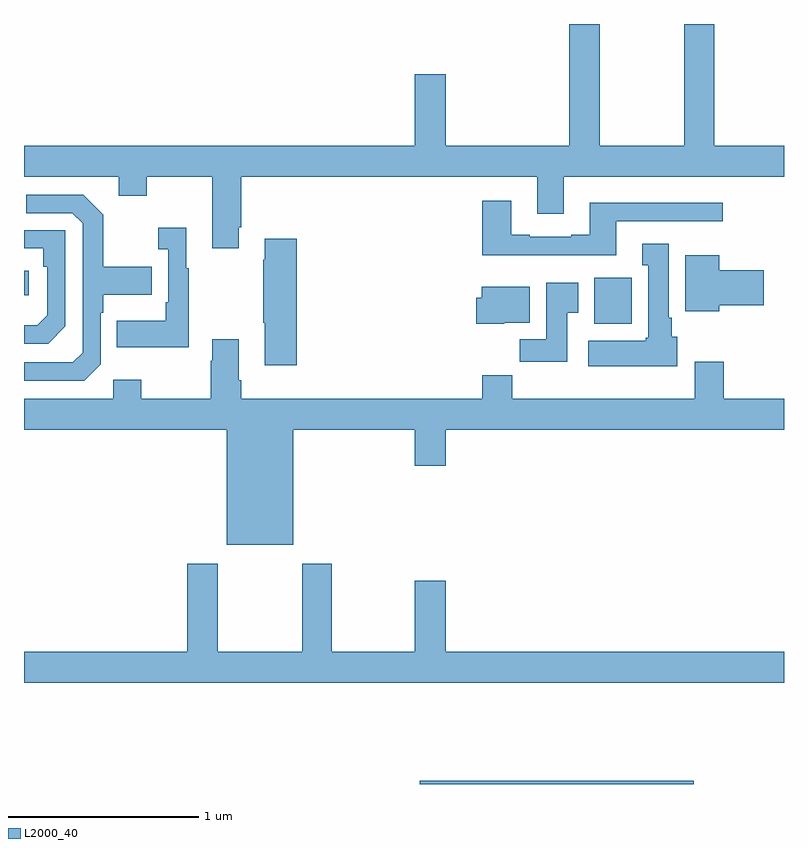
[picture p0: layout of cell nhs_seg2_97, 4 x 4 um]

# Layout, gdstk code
import gdstk
lib = gdstk.Library(unit=1e-6, precision=1e-09)
def R(c, l, rs):  # rectangles x0, y0, x1, y1
    for r in rs: c.add(gdstk.rectangle(r[:2], r[2:], *l))
def P(c, l, *ps):  # polygons
    for p in ps: c.add(gdstk.Polygon(p, *l))
L2000_40 = (2000, 40)

nhs_seg2_97 = lib.new_cell('nhs_seg2_97')
R(nhs_seg2_97, L2000_40, [(117.082,617.8,118.526,617.816), (118.001,620.222,118.198,620.464), (115,620.372,115.024,620.502)])
P(nhs_seg2_97, L2000_40, [(116.131,620.731),(116.144,620.731),(116.144,620.996),(117.701,620.996),(117.701,620.802),(117.841,620.802),(117.841,620.996),(119,620.996),(119,621.16),(118.634,621.16),(118.634,621.8),(118.474,621.8),(118.474,621.16),(118.029,621.16),(118.029,621.8),(117.869,621.8),(117.869,621.16),(117.22,621.16),(117.22,621.535),(117.056,621.535),(117.056,621.16),(115,621.16),(115,620.996),(115.499,620.996),(115.499,620.897),(115.647,620.897),(115.647,620.996),(115.991,620.996),(115.991,620.619),(116.131,620.619)],
  [(115.404,620.01),(115.404,620.279),(115.417,620.279),(115.417,620.375),(115.673,620.375),(115.673,620.523),(115.417,620.523),(115.417,620.795),(115.311,620.901),(115.011,620.901),(115.011,620.805),(115.254,620.805),(115.308,620.751),(115.308,620.07),(115.257,620.019),(115,620.019),(115,619.923),(115.317,619.923)],
  [(118.117,620.763),(118.678,620.763),(118.678,620.86),(117.977,620.86),(117.977,620.692),(117.881,620.692),(117.881,620.679),(117.661,620.679),(117.661,620.692),(117.565,620.692),(117.565,620.869),(117.413,620.869),(117.413,620.582),(118.117,620.582)],
  [(115.867,620.515),(115.855,620.515),(115.855,620.728),(115.707,620.728),(115.707,620.615),(115.758,620.615),(115.758,620.335),(115.746,620.335),(115.746,620.239),(115.489,620.239),(115.489,620.099),(115.867,620.099)],
  [(115.218,620.208),(115.218,620.715),(115,620.715),(115,620.619),(115.102,620.619),(115.102,620.522),(115.122,620.522),(115.122,620.268),(115.069,620.215),(115,620.215),(115,620.118),(115.128,620.118)],
  [(116.435,620.671),(116.267,620.671),(116.267,620.558),(116.26,620.558),(116.26,620.227),(116.267,620.227),(116.267,620.004),(116.435,620.004)],
  [(118.438,620.154),(118.408,620.154),(118.408,620.254),(118.393,620.254),(118.393,620.644),(118.253,620.644),(118.253,620.531),(118.286,620.531),(118.286,620.148),(118.273,620.148),(118.273,620.134),(117.969,620.134),(117.969,620),(118.438,620)],
  [(118.66,620.321),(118.894,620.321),(118.894,620.504),(118.66,620.504),(118.66,620.584),(118.481,620.584),(118.481,620.288),(118.66,620.288)],
  [(117.859,620.281),(117.916,620.281),(117.916,620.437),(117.749,620.437),(117.749,620.14),(117.61,620.14),(117.61,620.022),(117.859,620.022)],
  [(117.528,620.228),(117.661,620.228),(117.661,620.416),(117.41,620.416),(117.41,620.358),(117.38,620.358),(117.38,620.222),(117.528,620.222)],
  [(116.416,619.664),(117.056,619.664),(117.056,619.476),(117.22,619.476),(117.22,619.664),(119,619.664),(119,619.828),(118.682,619.828),(118.682,620.023),(118.529,620.023),(118.529,619.828),(117.569,619.828),(117.569,619.952),(117.413,619.952),(117.413,619.828),(116.144,619.828),(116.144,619.924),(116.131,619.924),(116.131,620.14),(115.991,620.14),(115.991,620.027),(115.984,620.027),(115.984,619.828),(115.617,619.828),(115.617,619.927),(115.47,619.927),(115.47,619.828),(115,619.828),(115,619.664),(116.066,619.664),(116.066,619.058),(116.416,619.058)],
  [(119,618.496),(117.22,618.496),(117.22,618.871),(117.056,618.871),(117.056,618.496),(116.619,618.496),(116.619,618.958),(116.464,618.958),(116.464,618.496),(116.019,618.496),(116.019,618.958),(115.859,618.958),(115.859,618.496),(115,618.496),(115,618.332),(119,618.332)])

lib.write_gds('nhs_seg2_97.gds')
